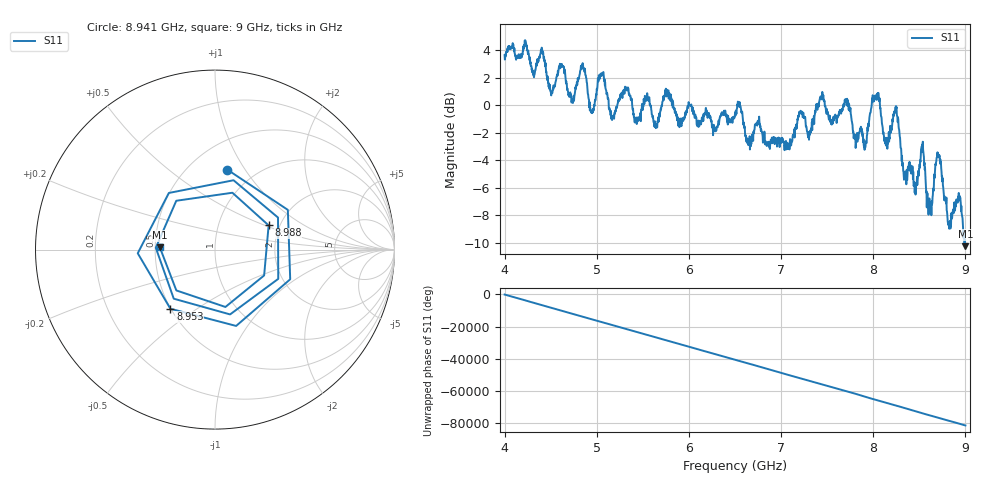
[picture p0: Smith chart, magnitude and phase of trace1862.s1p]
! Created with skrf 1.8.0 (http://scikit-rf.org).
# Hz S RI R 50.0
!freq ReS11 ImS11
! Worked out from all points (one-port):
!   1601 points, 4 GHz to 9 GHz, reference 50 ohm
!   lowest |S11| = -10.2 dB at 9 GHz (marker M1), VSWR 1.89, Z = 26.5 + j0.696 ohm
!   |S11| at or under -10 dB: 8.989866 GHz to 8.992353 GHz (2.488 MHz wide, 0.0277 % of centre); 8.996228 GHz to end of sweep
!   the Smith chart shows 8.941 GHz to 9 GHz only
!   S11 on the Smith chart (normalised r, x): 8.941 GHz: 0.75, +0.84; 8.953 GHz: 0.50, -0.40; 8.988 GHz: 1.75, +0.53; 9 GHz: 0.53, +0.01
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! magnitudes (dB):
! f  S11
! 4 GHz  3.7
! 4.409 GHz  4.0
! 4.503 GHz  0.9
! 4.625 GHz  2.9
! 4.731 GHz  0.5
! 4.853 GHz  2.7
! 4.944 GHz  -0.6
! 5.047 GHz  2.1
! 5.162 GHz  -0.8
! 5.25 GHz  0.4
! 5.875 GHz  -0.8
! 6.5 GHz  -0.6
! 7.125 GHz  -2.3
! 7.441 GHz  0.4
! 7.75 GHz  -0.3
! 7.909 GHz  -3.0
! 8.012 GHz  0.6
! 8.141 GHz  -2.7
! 8.244 GHz  -0.2
! 8.375 GHz  -4.6
! 8.538 GHz  -2.6
! 8.619 GHz  -7.6
! 8.709 GHz  -3.6
! 8.822 GHz  -8.8
! 8.941 GHz  -6.9
! 8.953 GHz  -7.7
! 8.988 GHz  -9.7
! 9 GHz  -10.2
